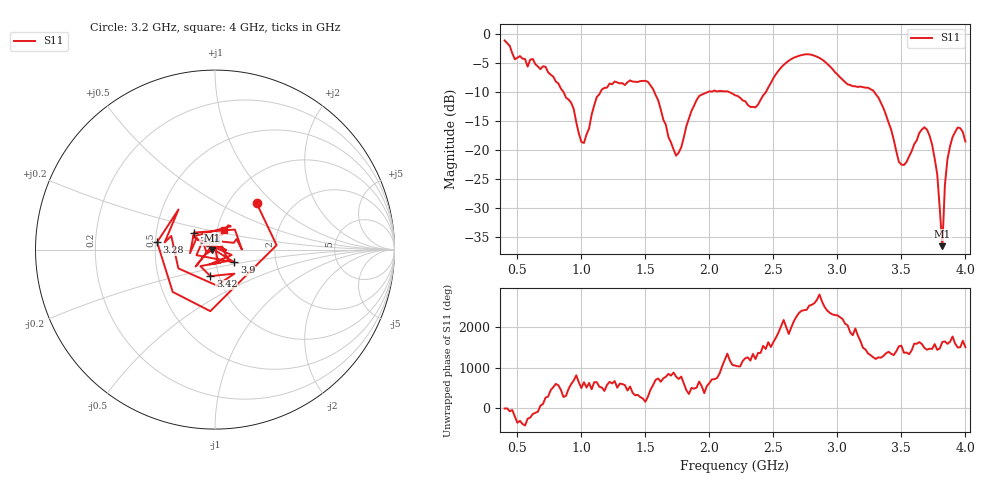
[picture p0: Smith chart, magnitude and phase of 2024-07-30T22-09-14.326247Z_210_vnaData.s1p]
!Created with skrf (http://scikit-rf.org).
# Hz S RI R 50.0
!freq ReS11 ImS11
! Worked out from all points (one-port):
!   181 points, 400 MHz to 4 GHz, reference 50 ohm
!   lowest |S11| = -36.5 dB at 3.82 GHz (marker M1), VSWR 1.03, Z = 48.6 - j0.301 ohm
!   |S11| at or under -10 dB: 860 MHz to 1.15 GHz (289.7 MHz wide, 28.8 % of centre); 1.57 GHz to 1.989 GHz (419.9 MHz wide, 23.6 % of centre); 3.288 GHz to end of sweep (the widest 3 of 4)
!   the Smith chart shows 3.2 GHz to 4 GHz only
!   S11 on the Smith chart (normalised r, x): 3.2 GHz: 1.34, +0.79; 3.28 GHz: 0.51, +0.05; 3.42 GHz: 0.91, -0.28; 3.66 GHz: 0.78, +0.15; 3.9 GHz: 1.23, -0.18; 4 GHz: 1.08, +0.23
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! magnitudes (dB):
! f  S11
! 400 MHz  -1.2
! 480 MHz  -4.4
! 860 MHz  -10.0
! 1.02 GHz  -18.8
! 1.12 GHz  -10.9
! 1.3 GHz  -8.5
! 1.52 GHz  -8.3
! 1.76 GHz  -20.4
! 1.92 GHz  -10.7
! 2.2 GHz  -10.6
! 2.36 GHz  -12.7
! 2.66 GHz  -4.1
! 2.86 GHz  -4.1
! 3.1 GHz  -8.8
! 3.2 GHz  -9.2
! 3.28 GHz  -9.8
! 3.42 GHz  -16.5
! 3.48 GHz  -22.0
! 3.56 GHz  -21.1
! 3.66 GHz  -16.5
! 3.7 GHz  -16.5
! 3.76 GHz  -21.4
! 3.78 GHz  -24.2
! 3.82 GHz  -36.5
! 3.84 GHz  -26.0
! 3.9 GHz  -17.7
! 3.96 GHz  -16.2
! 4 GHz  -18.5
